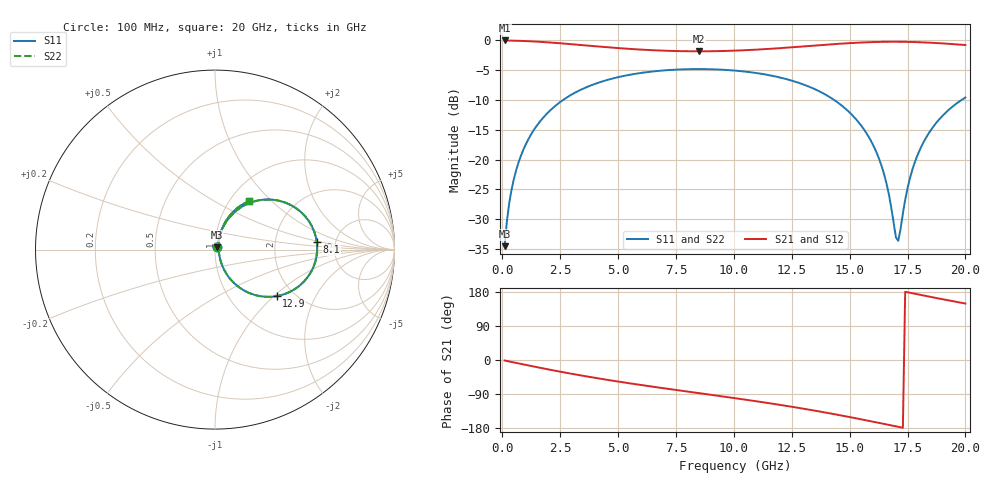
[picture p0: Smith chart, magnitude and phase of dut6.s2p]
! Touchstone file exported from HFSS 2026.1.0
!  File:  C:/ffzhzh/LocalFiles/Ansys_Project_Files/temp_val_TSV_RDL_6_1782975728_6388.aedt
!  Generated:  03:14:22 PM Jul  2, 2026
!  Design:  TSV_RDL
!  Project:  temp_val_TSV_RDL_6_1782975728_6388
! Variables:
!  h_bsmrdl = 4.25um
!  h_ox = 20um
!  h_rdl = 5um
!  h_sub = 61.28um
!  h_tmrdl = 4.8um
!  h_tsv = 61.28um
!  h_via = 3um
!  l_bsmrdl = 696.84um
!  l_sub = 3628.97um
!  l_tmrdl = 253.39um
!  m_sub = 200um
!  pitch = 57.68um
!  r_tsv = 11.3um
!  s_tmrdl = 10um
!  w_bsmrdl = 24.33um
!  w_sub = 500um
!  w_tmrdl = 17.3um
!  x_tsv_center1 = 262.04um
!  x_tsv_center2 = 983.21um
!  x_tsv_center3 = 1253.9um
!  x_tsv_center4 = 1975.07um
!  x_tsv_center5 = 2245.76um
!  x_tsv_center6 = 2966.93um
# GHz S MA R 50.000000
! Terminal data exported
! Port[1] = TM_RDL1_1_T1
! Port[2] = TM_RDL5_1_T1
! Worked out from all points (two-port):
!   200 points, 100 MHz to 20 GHz, reference 50 ohm
!   highest |S21| = -0.11 dB at 100 MHz (marker M1); lowest = -1.9 dB at 8.5 GHz (marker M2)
!   |S21| within 3 dB of the highest: start of sweep to end of sweep
!   lowest |S11| = -34.5 dB at 100 MHz (marker M3), VSWR 1.04, Z = 51.3 + j1.42 ohm
!   |S11| at or under -10 dB: start of sweep to 2.645 GHz; 14.31 GHz to 19.85 GHz (5.541 GHz wide, 32.4 % of centre)
!   |S22| runs from -34.5 to -4.9 dB; largest |S21 - S12| = 2.6e-14
!   S11 on the Smith chart (normalised r, x): 100 MHz: 1.03, +0.03; 8.1 GHz: 3.57, +0.46; 12.9 GHz: 1.64, -1.04; 20 GHz: 1.22, +0.74
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0.1  0.0189 47.0  0.9873 -1.3  0.9873 -1.3  0.0189 47.0
! Gamma 0 0 0 0
! Port Impedance 50 0 50 0
0.3  0.04328 67.7  0.9855 -3.9  0.9855 -3.9  0.04328 67.7
0.5  0.06876 71.5  0.9834 -6.5  0.9834 -6.5  0.06876 71.5
1.1  0.1445 69.7  0.974 -14.0  0.974 -14.0  0.1445 69.7
2.1  0.2606 60.0  0.9482 -26.2  0.9482 -26.2  0.2606 60.0
3.5  0.3913 45.4  0.901 -41.8  0.901 -41.8  0.3913 45.4
6.8  0.5512 15.1  0.8136 -73.1  0.8136 -73.1  0.5512 15.1
8.1  0.5685 4.4  0.802 -84.1  0.802 -84.1  0.5685 4.4
8.5  0.5694 1.1  0.8014 -87.5  0.8014 -87.5  0.5694 1.1
10.1  0.552 -12.0  0.8126 -101.2  0.8126 -101.2  0.552 -12.0
12.9  0.4307 -37.0  0.8772 -127.4  0.8772 -127.4  0.4307 -37.0
13.4  0.3946 -41.8  0.8924 -132.6  0.8924 -132.6  0.3946 -41.8
14.7  0.2783 -54.7  0.9305 -147.1  0.9305 -147.1  0.2783 -54.7
15.6  0.1806 -62.8  0.9509 -157.7  0.9509 -157.7  0.1806 -62.9
16.3  0.09802 -65.7  0.9606 -166.3  0.9606 -166.3  0.09802 -65.7
16.7  0.05067 -58.7  0.963 -171.3  0.963 -171.3  0.05065 -58.8
17  0.02238 -19.4  0.9634 -175.0  0.9634 -175.0  0.02231 -19.5
17.1  0.02093 12.8  0.9632 -176.3  0.9632 -176.3  0.02084 12.8
17.6  0.06922 69.0  0.9599 177.5  0.9599 177.5  0.06918 69.1
18.1  0.1287 71.1  0.9532 171.3  0.9532 171.3  0.1287 71.1
18.9  0.2199 65.5  0.9361 161.7  0.9361 161.7  0.2199 65.5
20  0.3297 55.0  0.9041 149.1  0.9041 149.1  0.3296 55.0
